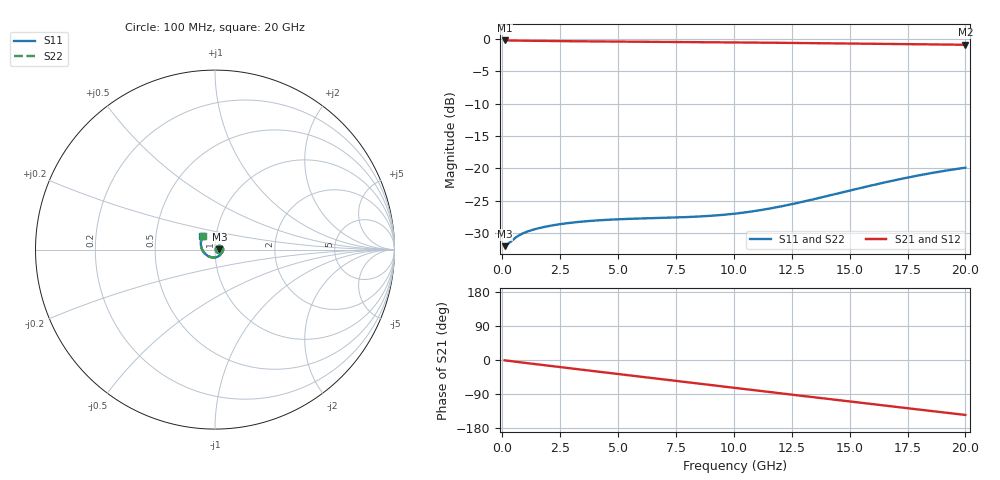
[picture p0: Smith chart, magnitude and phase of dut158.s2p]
! Touchstone file exported from HFSS 2026.1.0
!  File:  C:/ffzhzh/LocalFiles/Ansys_Project_Files/temp_train_TSV_RDL_158_1783053212_17544.aedt
!  Generated:  12:43:41 PM Jul  3, 2026
!  Design:  TSV_RDL
!  Project:  temp_train_TSV_RDL_158_1783053212_17544
! Variables:
!  h_bsmrdl = 3.33um
!  h_ox = 20um
!  h_rdl = 5um
!  h_sub = 75.95um
!  h_tmrdl = 2.4um
!  h_tsv = 75.95um
!  h_via = 3um
!  l_bsmrdl = 152.19um
!  l_sub = 2200.27um
!  l_tmrdl = 319.77um
!  m_sub = 200um
!  pitch = 14.43um
!  r_tsv = 5.43um
!  s_tmrdl = 10um
!  w_bsmrdl = 11.12um
!  w_sub = 500um
!  w_tmrdl = 10.42um
!  x_tsv_center1 = 324.98um
!  x_tsv_center2 = 488.29um
!  x_tsv_center3 = 818.48um
!  x_tsv_center4 = 981.79um
!  x_tsv_center5 = 1311.98um
!  x_tsv_center6 = 1475.29um
# GHz S MA R 50.000000
! Terminal data exported
! Port[1] = TM_RDL1_1_T1
! Port[2] = TM_RDL5_1_T1
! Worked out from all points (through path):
!   200 points, 100 MHz to 20 GHz, reference 50 ohm
!   highest |S21| = -0.22 dB at 100 MHz (marker M1); lowest = -0.9 dB at 20 GHz (marker M2)
!   group delay of S21, straight-line fit = 20.1 ps
!   lowest |S11| = -32.1 dB at 100 MHz (marker M3), VSWR 1.05, Z = 52.6 + j0.129 ohm
!   |S11| at or under -10 dB: start of sweep to end of sweep
!   |S22| runs from -32.1 to -19.9 dB; largest |S21 - S12| = 2e-13
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0.1  0.02494 2.8  0.9751 -0.8  0.9751 -0.8  0.02494 2.8
! Gamma 0 0 0 0
! Port Impedance 50 0 50 0
0.7  0.03008 7.1  0.9706 -5.5  0.9706 -5.5  0.03007 7.1
1.2  0.03291 3.8  0.9677 -9.2  0.9677 -9.2  0.03291 3.8
2.2  0.03623 -4.1  0.964 -16.5  0.964 -16.5  0.03622 -4.1
3.5  0.03873 -15.8  0.9603 -26.0  0.9603 -26.0  0.03871 -15.8
5.1  0.04035 -32.0  0.9561 -37.7  0.9561 -37.7  0.04031 -32.0
6  0.04088 -42.2  0.9538 -44.3  0.9538 -44.3  0.04083 -42.2
6.8  0.04126 -52.0  0.9516 -50.1  0.9516 -50.1  0.04119 -52.0
7.7  0.04172 -63.9  0.9491 -56.6  0.9491 -56.6  0.04165 -64.0
8.5  0.04232 -75.3  0.9467 -62.4  0.9467 -62.4  0.04223 -75.3
9.3  0.04325 -87.3  0.9442 -68.2  0.9442 -68.2  0.04315 -87.4
10.1  0.04465 -99.8  0.9416 -74.0  0.9416 -74.0  0.04454 -99.8
10.9  0.04665 -112.4  0.9389 -79.8  0.9389 -79.8  0.04654 -112.5
11.7  0.04933 -125.0  0.9361 -85.6  0.9361 -85.6  0.04922 -125.1
12.5  0.05271 -137.2  0.9331 -91.4  0.9331 -91.4  0.0526 -137.4
13.4  0.0573 -150.4  0.9297 -97.9  0.9297 -97.9  0.0572 -150.6
14.2  0.062 -161.6  0.9266 -103.6  0.9266 -103.6  0.0619 -161.7
15  0.06715 -172.1  0.9233 -109.4  0.9233 -109.4  0.06706 -172.2
15.8  0.07262 178.0  0.9201 -115.1  0.9201 -115.1  0.07254 177.9
16.7  0.07899 167.5  0.9163 -121.6  0.9163 -121.6  0.07892 167.4
18.4  0.09089 149.3  0.9093 -133.7  0.9093 -133.7  0.09084 149.2
20  0.101 133.7  0.903 -145.0  0.903 -145.0  0.1009 133.6
